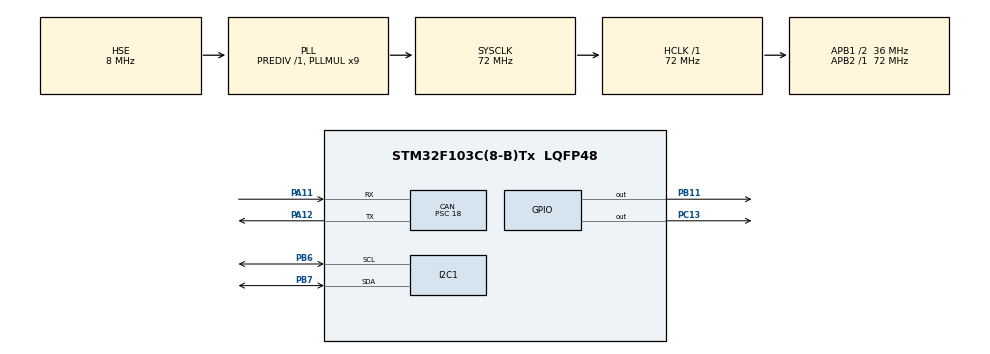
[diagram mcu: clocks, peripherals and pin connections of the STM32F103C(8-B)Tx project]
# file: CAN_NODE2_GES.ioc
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CAN.BS1=CAN_BS1_2TQ
CAN.CalculateBaudRate=500000
CAN.CalculateTimeBit=2000
CAN.CalculateTimeQuantum=500.0
CAN.Prescaler=18
CAN.SJW=CAN_SJW_1TQ
Mcu.Family=STM32F1
Mcu.Name=STM32F103C(8-B)Tx
Mcu.Package=LQFP48
NVIC.CAN1_RX1_IRQn=true\:0\:0\:false\:false\:true\:true\:true\:true
NVIC.PriorityGroup=NVIC_PRIORITYGROUP_4
PA11.GPIO_PuPd=GPIO_PULLUP
PA11.Mode=CAN_Activate
PA11.Signal=CAN_RX
PA12.Mode=CAN_Activate
PA12.Signal=CAN_TX
PA13.Mode=Serial_Wire
PA13.Signal=SYS_JTMS-SWDIO
PA14.Mode=Serial_Wire
PA14.Signal=SYS_JTCK-SWCLK
PB11.Signal=GPIO_Output
PB6.GPIO_Mode=GPIO_MODE_AF_OD
PB6.GPIO_Speed=GPIO_SPEED_FREQ_HIGH
PB6.Mode=I2C
PB6.Signal=I2C1_SCL
PB7.Mode=I2C
PB7.Signal=I2C1_SDA
PC13-TAMPER-RTC.Signal=GPIO_Output
PD0-OSC_IN.Mode=HSE-External-Oscillator
PD0-OSC_IN.Signal=RCC_OSC_IN
PD1-OSC_OUT.Mode=HSE-External-Oscillator
PD1-OSC_OUT.Signal=RCC_OSC_OUT
ProjectManager.HeapSize=0x200
ProjectManager.StackSize=0x400
ProjectManager.TargetToolchain=STM32CubeIDE
RCC.AHBFreq_Value=72000000
RCC.APB1CLKDivider=RCC_HCLK_DIV2
RCC.APB1Freq_Value=36000000
RCC.APB1TimFreq_Value=72000000
RCC.APB2Freq_Value=72000000
RCC.APB2TimFreq_Value=72000000
RCC.HCLKFreq_Value=72000000
RCC.PLLMUL=RCC_PLL_MUL9
RCC.PLLSourceVirtual=RCC_PLLSOURCE_HSE
RCC.SYSCLKFreq_VALUE=72000000
RCC.SYSCLKSource=RCC_SYSCLKSOURCE_PLLCLK
RCC.USBFreq_Value=72000000
board=custom

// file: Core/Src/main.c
/* USER CODE BEGIN Header */
/**
  ******************************************************************************
  * @file           : main.c
  * @brief          : Main program body
  ******************************************************************************
  * @attention
  *
  * Copyright (c) 2025 STMicroelectronics.
  * All rights reserved.
  *
  * This software is licensed under terms that can be found in the LICENSE file
  * in the root directory of this software component.
  * If no LICENSE file comes with this software, it is provided AS-IS.
  *
  ******************************************************************************
  */
/* USER CODE END Header */
#include "main.h"

/* USER CODE BEGIN Includes */
#include <string.h>
#include <stdbool.h>
/* USER CODE END Includes */

/* USER CODE BEGIN PD */
#define I2C_TIMEOUT    100
#define PAJ_ADDR (0x73 << 1)
/* USER CODE END PD */

CAN_HandleTypeDef hcan;

I2C_HandleTypeDef hi2c1;

/* USER CODE BEGIN PV */
CAN_TxHeaderTypeDef CAN_pHeader;
CAN_RxHeaderTypeDef CAN_pHeaderRx;
CAN_FilterTypeDef CAN_sFilterConfig;
uint32_t CAN_pTxMailbox;
uint8_t CAN_DATA_TX[8] = {0x00,0x02,0x02,0x02,0x02,0x02,0x02,0x02};
uint8_t CAN_DATA_RX[8] = {0x00,0x00,0x00,0x00,0x00,0x00,0x00,0x00};
/* USER CODE END PV */

void SystemClock_Config(void);
static void MX_GPIO_Init(void);
static void MX_CAN_Init(void);
static void MX_I2C1_Init(void);
/* USER CODE BEGIN PFP */
void HAL_CAN_RxFifo1MsgPendingCallback(CAN_HandleTypeDef *hcan){

		HAL_CAN_GetRxMessage(hcan, CAN_RX_FIFO1, &CAN_pHeaderRx, CAN_DATA_RX);
			HAL_GPIO_WritePin(GPIOC,GPIO_PIN_13,GPIO_PIN_RESET);

}
/* USER CODE END PFP */

/* USER CODE BEGIN 0 */
static HAL_StatusTypeDef paj_write(uint8_t reg, uint8_t data) {
    return HAL_I2C_Mem_Write(&hi2c1, PAJ_ADDR, reg, I2C_MEMADD_SIZE_8BIT, &data, 1, I2C_TIMEOUT);
}
static HAL_StatusTypeDef paj_read(uint8_t reg, uint8_t *data) {
    return HAL_I2C_Mem_Read(&hi2c1, PAJ_ADDR, reg, I2C_MEMADD_SIZE_8BIT, data, 1, I2C_TIMEOUT);
}
static void paj_select_bank(uint8_t bank) { // bank: 0 hoặc 1
    // Thanh ghi chọn bank là 0xEF theo datasheet
    // :contentReference[oaicite:8]{index=8}
    paj_write(0xEF, bank);
}
const uint8_t initRegisterArray[][2	] = {
		{0xEF,0x00},
		{0x41,0xFF},
		{0x42,0x01},
		{0x46,0x2D},
		{0x47,0x0F},
		{0x48,0x80},
		{0x49,0x00},
		{0x4A,0x40},
		{0x4B,0x00},
		{0x4C,0x20},
		{0x4D,0x00},
		{0x51,0x10},
		{0x5C,0x02},
		{0x5E,0x10},
		{0x80,0x41},
		{0x81,0x44},
		{0x82,0x0C},
		{0x83,0x20},
		{0x84,0x20},
		{0x85,0x00},
		{0x86,0x10},
		{0x87,0x00},
		{0x8B,0x01},
		{0x8D,0x00},
		{0x90,0x0C},
		{0x91,0x0C},
		{0x93,0x0D},
		{0x94,0x0A},
		{0x95,0x0A},
		{0x96,0x0C},
		{0x97,0x05},
		{0x9A,0x14},
		{0x9C,0x3F},
		{0x9F,0xF9},
		{0xA0,0x48},
		{0xA5,0x19},
		{0xCC,0x19},
		{0xCD,0x0B},
		{0xCE,0x13},
		{0xCF,0x62},
		{0xD0,0x21},
		{0xEF,0x01},
		{0x00,0x1E},
		{0x01,0x1E},
		{0x02,0x0F},
		{0x03,0x0F},
		{0x04,0x02},
		{0x25,0x01},
		{0x26,0x00},
		{0x27,0x39},
		{0x28,0x7F},
		{0x29,0x08},
		{0x30,0x03},
		{0x3E,0xFF},
		{0x5E,0x3D},
		{0x65,0xAC},
		{0x66,0x00},
		{0x67,0x97},
		{0x68,0x01},
		{0x69,0xCD},
		{0x6A,0x01},
		{0x6B,0xB0},
		{0x6C,0x04},
		{0x6D,0x2C},
		{0x6E,0x01},
		{0x72,0x01},
		{0x73,0x35},
		{0x74,0x00},
		{0x77,0x01},
		{0xEF,0x00},

};

typedef enum {
	GES_ERR=-1,
    GES_NONE=0, GES_FORWARD=1, GES_BACKWARD=2, GES_RIGHT=3, GES_LEFT=4,
    GES_UP=5, GES_DOWN=6, GES_CLOCKWISE=7, GES_ANTICLOCKWISE=8, GES_WAVE=9
} gesture_t;

static gesture_t paj_read_gesture() {
    uint8_t g0=0, g1=0;
    if (paj_read(0x43, &g0) != HAL_OK) return GES_ERR;
    if (paj_read(0x44, &g1) != HAL_OK) return GES_ERR;

    if (g0 & (1<<0)) return GES_RIGHT;
    if (g0 & (1<<1)) return GES_LEFT;
    if (g0 & (1<<2)) return GES_UP;
    if (g0 & (1<<3)) return GES_DOWN;
    if (g0 & (1<<4)) return GES_FORWARD;
    if (g0 & (1<<5)) return GES_BACKWARD;
    if (g0 & (1<<6)) return GES_CLOCKWISE;
    if (g0 & (1<<7)) return GES_ANTICLOCKWISE;
    if (g1 & (1<<0)) return GES_WAVE;
    else return GES_NONE;
    if (g0 != GES_NONE || g1 != GES_NONE ) paj_write(0x40, 0x01);

}

static HAL_StatusTypeDef paj_init_full(void) {
    HAL_Delay(1);
    paj_select_bank(0);

    uint8_t id0=0, id1=0;
    paj_read(0x00, &id0); // PartID low (0x20)
    paj_read(0x01, &id1); // PartID high (0x76)
    if(id0 != 0x20 || id1 != 0x76) {
    	HAL_GPIO_WritePin(GPIOB,GPIO_PIN_11,GPIO_PIN_SET);
    	return HAL_ERROR;
    }

    // Theo datasheet: sau power‑on, “wake” bằng truy cập I2C slave ID, sau đó ghi init & enable @Bank1:0x72=0x01. :contentReference[oaicite:10]{index=10}
    for (uint8_t i=0; i<sizeof(initRegisterArray)/sizeof(initRegisterArray[0]); i++) {
        if (paj_write(initRegisterArray[i][0], initRegisterArray[i][1]) != HAL_OK) {
        	HAL_GPIO_WritePin(GPIOB,GPIO_PIN_11,GPIO_PIN_SET);
        	HAL_Delay(1000);
        	HAL_GPIO_WritePin(GPIOB,GPIO_PIN_11,GPIO_PIN_RESET);
            return HAL_ERROR;
        }
        // nếu muốn chắc ăn, delay rất ngắn:
        // HAL_Delay(1);
    }
    paj_select_bank(0);
    return HAL_OK;
}
/* USER CODE END 0 */

int main(void)
{

  /* MCU Configuration--------------------------------------------------------*/

  /* Reset of all peripherals, Initializes the Flash interface and the Systick. */
  HAL_Init();

  /* Configure the system clock */
  SystemClock_Config();

  /* Initialize all configured peripherals */
  MX_GPIO_Init();
  MX_CAN_Init();
  MX_I2C1_Init();
  /* USER CODE BEGIN 2 */
  HAL_CAN_ConfigFilter(&hcan,&CAN_sFilterConfig);
  HAL_CAN_Start(&hcan);
  HAL_CAN_ActivateNotification(&hcan, CAN_IT_RX_FIFO1_MSG_PENDING);
  /* USER CODE END 2 */

  /* Infinite loop */
  /* USER CODE BEGIN WHILE */
  if (paj_init_full() != HAL_OK) {
       HAL_GPIO_TogglePin(GPIOC,GPIO_PIN_13);
       HAL_Delay(1000);
       HAL_GPIO_TogglePin(GPIOC,GPIO_PIN_13);
       HAL_Delay(1000);
       HAL_GPIO_TogglePin(GPIOC,GPIO_PIN_13);

  }
  paj_select_bank(1);
  paj_write(0x72, 0x01);
  paj_select_bank(0);
  while (1)
  {
	  gesture_t g = paj_read_gesture();
	  if (g != GES_NONE) {
		  CAN_DATA_TX[0]=(uint8_t)g;
		  HAL_CAN_AddTxMessage(&hcan, &CAN_pHeader, CAN_DATA_TX, &CAN_pTxMailbox);
		  HAL_GPIO_WritePin(GPIOC,GPIO_PIN_13,GPIO_PIN_SET);
		  HAL_Delay(3000);
	  }
    /* USER CODE END WHILE */

  }
}

void SystemClock_Config(void)
{
  RCC_OscInitTypeDef RCC_OscInitStruct = {0};
  RCC_ClkInitTypeDef RCC_ClkInitStruct = {0};

  /** Initializes the RCC Oscillators according to the specified parameters
  * in the RCC_OscInitTypeDef structure.
  */
  RCC_OscInitStruct.OscillatorType = RCC_OSCILLATORTYPE_HSE;
  RCC_OscInitStruct.HSEState = RCC_HSE_ON;
  RCC_OscInitStruct.HSEPredivValue = RCC_HSE_PREDIV_DIV1;
  RCC_OscInitStruct.HSIState = RCC_HSI_ON;
  RCC_OscInitStruct.PLL.PLLState = RCC_PLL_ON;
  RCC_OscInitStruct.PLL.PLLSource = RCC_PLLSOURCE_HSE;
  RCC_OscInitStruct.PLL.PLLMUL = RCC_PLL_MUL9;
  if (HAL_RCC_OscConfig(&RCC_OscInitStruct) != HAL_OK)
  {
    Error_Handler();
  }

  /** Initializes the CPU, AHB and APB buses clocks
  */
  RCC_ClkInitStruct.ClockType = RCC_CLOCKTYPE_HCLK|RCC_CLOCKTYPE_SYSCLK
                              |RCC_CLOCKTYPE_PCLK1|RCC_CLOCKTYPE_PCLK2;
  RCC_ClkInitStruct.SYSCLKSource = RCC_SYSCLKSOURCE_PLLCLK;
  RCC_ClkInitStruct.AHBCLKDivider = RCC_SYSCLK_DIV1;
  RCC_ClkInitStruct.APB1CLKDivider = RCC_HCLK_DIV2;
  RCC_ClkInitStruct.APB2CLKDivider = RCC_HCLK_DIV1;

  if (HAL_RCC_ClockConfig(&RCC_ClkInitStruct, FLASH_LATENCY_2) != HAL_OK)
  {
    Error_Handler();
  }
}

static void MX_CAN_Init(void)
{

  /* USER CODE BEGIN CAN_Init 0 */
	CAN_pHeader.StdId = 0x02;
		CAN_pHeader.DLC = 8;
		CAN_pHeader.IDE = CAN_ID_STD;
		CAN_pHeader.RTR = CAN_RTR_DATA;
  /* USER CODE END CAN_Init 0 */

  hcan.Instance = CAN1;
  hcan.Init.Prescaler = 18;
  hcan.Init.Mode = CAN_MODE_NORMAL;
  hcan.Init.SyncJumpWidth = CAN_SJW_1TQ;
  hcan.Init.TimeSeg1 = CAN_BS1_2TQ;
  hcan.Init.TimeSeg2 = CAN_BS2_1TQ;
  hcan.Init.TimeTriggeredMode = DISABLE;
  hcan.Init.AutoBusOff = DISABLE;
  hcan.Init.AutoWakeUp = DISABLE;
  hcan.Init.AutoRetransmission = DISABLE;
  hcan.Init.ReceiveFifoLocked = DISABLE;
  hcan.Init.TransmitFifoPriority = DISABLE;
  if (HAL_CAN_Init(&hcan) != HAL_OK)
  {
    Error_Handler();
  }
  /* USER CODE BEGIN CAN_Init 2 */
  CAN_sFilterConfig.FilterActivation = CAN_FILTER_ENABLE;
    CAN_sFilterConfig.FilterFIFOAssignment = CAN_FILTER_FIFO1;
    CAN_sFilterConfig.SlaveStartFilterBank = 0;
    CAN_sFilterConfig.FilterBank = 8;
    CAN_sFilterConfig.FilterMode = CAN_FILTERMODE_IDMASK;
    CAN_sFilterConfig.FilterScale = CAN_FILTERSCALE_32BIT;
    CAN_sFilterConfig.FilterIdHigh = 0x001 << 5;
    CAN_sFilterConfig.FilterIdLow = 0;
    CAN_sFilterConfig.FilterMaskIdHigh = 0;
    CAN_sFilterConfig.FilterMaskIdLow = 0;
  /* USER CODE END CAN_Init 2 */

}

static void MX_I2C1_Init(void)
{

  hi2c1.Instance = I2C1;
  hi2c1.Init.ClockSpeed = 100000;
  hi2c1.Init.DutyCycle = I2C_DUTYCYCLE_2;
  hi2c1.Init.OwnAddress1 = 0;
  hi2c1.Init.AddressingMode = I2C_ADDRESSINGMODE_7BIT;
  hi2c1.Init.DualAddressMode = I2C_DUALADDRESS_DISABLE;
  hi2c1.Init.OwnAddress2 = 0;
  hi2c1.Init.GeneralCallMode = I2C_GENERALCALL_DISABLE;
  hi2c1.Init.NoStretchMode = I2C_NOSTRETCH_DISABLE;
  if (HAL_I2C_Init(&hi2c1) != HAL_OK)
  {
    Error_Handler();
  }

}

static void MX_GPIO_Init(void)
{
  GPIO_InitTypeDef GPIO_InitStruct = {0};

  /* GPIO Ports Clock Enable */
  __HAL_RCC_GPIOC_CLK_ENABLE();
  __HAL_RCC_GPIOD_CLK_ENABLE();
  __HAL_RCC_GPIOB_CLK_ENABLE();
  __HAL_RCC_GPIOA_CLK_ENABLE();

  /*Configure GPIO pin Output Level */
  HAL_GPIO_WritePin(GPIOC, GPIO_PIN_13, GPIO_PIN_RESET);

  /*Configure GPIO pin Output Level */
  HAL_GPIO_WritePin(GPIOB, GPIO_PIN_11, GPIO_PIN_RESET);

  /*Configure GPIO pin : PC13 */
  GPIO_InitStruct.Pin = GPIO_PIN_13;
  GPIO_InitStruct.Mode = GPIO_MODE_OUTPUT_PP;
  GPIO_InitStruct.Pull = GPIO_NOPULL;
  GPIO_InitStruct.Speed = GPIO_SPEED_FREQ_LOW;
  HAL_GPIO_Init(GPIOC, &GPIO_InitStruct);

  /*Configure GPIO pin : PB11 */
  GPIO_InitStruct.Pin = GPIO_PIN_11;
  GPIO_InitStruct.Mode = GPIO_MODE_OUTPUT_PP;
  GPIO_InitStruct.Pull = GPIO_NOPULL;
  GPIO_InitStruct.Speed = GPIO_SPEED_FREQ_LOW;
  HAL_GPIO_Init(GPIOB, &GPIO_InitStruct);

}

void Error_Handler(void)
{
  __disable_irq();
  while (1)
  {
  }
}
